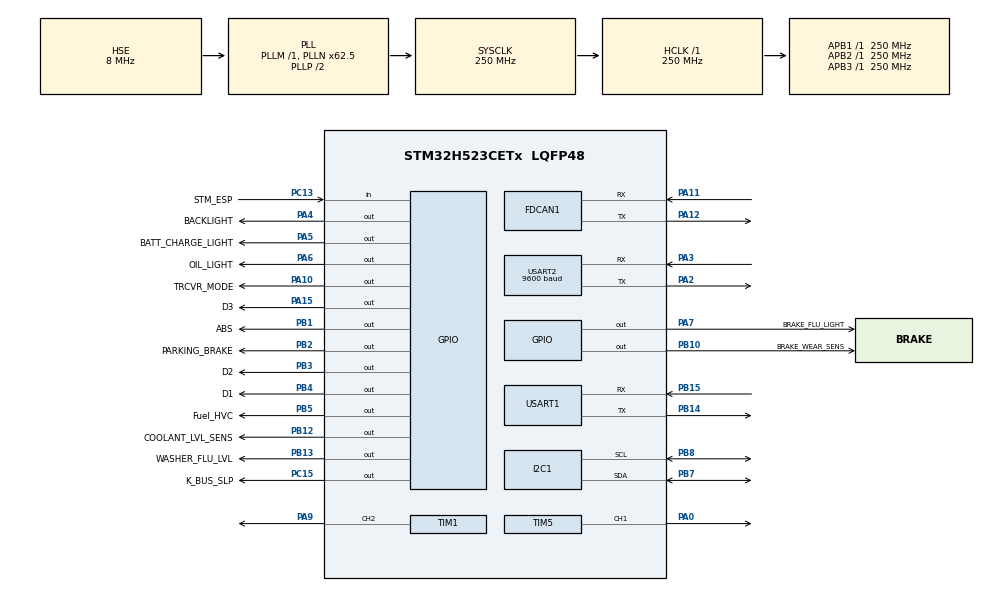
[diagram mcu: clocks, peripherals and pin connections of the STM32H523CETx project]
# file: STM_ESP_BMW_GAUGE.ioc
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BOOTPATH.BootPathName=LEGACY
BOOTPATH.UserSelectedBootPath=LEGACY
CORTEX_M33_NS.userName=CORTEX_M33
FDCAN1.CalculateBaudRateNominal=500000
FDCAN1.CalculateTimeBitNominal=2000
FDCAN1.CalculateTimeQuantumNominal=125.0
FDCAN1.NominalPrescaler=1
FDCAN1.NominalTimeSeg1=11
FDCAN1.NominalTimeSeg2=4
FDCAN1.TxFifoQueueMode=FDCAN_TX_FIFO_OPERATION
GPDMA1.IPHANDLE_GPDMACH0-SIMPLEREQUEST_GPDMACH0=__NULL
GPDMA1.REQUEST_GPDMACH0=GPDMA1_REQUEST_USART1_RX
I2C1.Timing=0x60808CD3
Mcu.Family=STM32H5
Mcu.Name=STM32H523CETx
Mcu.Package=LQFP48
NVIC.FDCAN1_IT0_IRQn=true\:0\:0\:false\:false\:true\:true\:true\:true
NVIC.FDCAN1_IT1_IRQn=true\:0\:0\:false\:false\:true\:true\:true\:true
NVIC.GPDMA1_Channel0_IRQn=true\:1\:0\:true\:false\:true\:false\:true\:true
NVIC.PriorityGroup=NVIC_PRIORITYGROUP_4
NVIC.TIM1_BRK_IRQn=true\:0\:0\:false\:false\:true\:true\:true\:true
NVIC.TIM1_CC_IRQn=true\:2\:0\:true\:false\:true\:true\:true\:true
NVIC.TIM1_TRG_COM_IRQn=true\:2\:0\:true\:false\:true\:true\:true\:true
NVIC.TIM1_UP_IRQn=true\:2\:0\:true\:false\:true\:true\:true\:true
NVIC.TIM2_IRQn=true\:3\:0\:true\:false\:true\:true\:true\:true
NVIC.TIM3_IRQn=true\:6\:0\:true\:false\:true\:true\:true\:true
NVIC.TIM4_IRQn=true\:2\:0\:true\:false\:true\:true\:true\:true
NVIC.USART1_IRQn=true\:1\:0\:true\:false\:true\:true\:true\:true
PA0.Signal=S_TIM5_CH1
PA10.GPIO_Label=TRCVR_MODE
PA10.Signal=GPIO_Output
PA11.Mode=FDCAN_Activate
PA11.Signal=FDCAN1_RX
PA12.Mode=FDCAN_Activate
PA12.Signal=FDCAN1_TX
PA13(JTMS/SWDIO).Mode=Serial_Wire
PA13(JTMS/SWDIO).Signal=DEBUG_JTMS-SWDIO
PA14(JTCK/SWCLK).Mode=Serial_Wire
PA14(JTCK/SWCLK).Signal=DEBUG_JTCK-SWCLK
PA15(JTDI).GPIO_Label=D3
PA15(JTDI).Signal=GPIO_Output
PA2.GPIO_Speed=GPIO_SPEED_FREQ_VERY_HIGH
PA2.Mode=Asynchronous
PA2.Signal=USART2_TX
PA3.GPIO_Speed=GPIO_SPEED_FREQ_VERY_HIGH
PA3.Mode=Asynchronous
PA3.Signal=USART2_RX
PA4.GPIO_Label=BACKLIGHT
PA4.Signal=GPIO_Output
PA5.GPIO_Label=BATT_CHARGE_LIGHT
PA5.Signal=GPIO_Output
PA6.GPIO_Label=OIL_LIGHT
PA6.Signal=GPIO_Output
PA7.GPIO_Label=BRAKE_FLU_LIGHT
PA7.Signal=GPIO_Output
PA9.Signal=S_TIM1_CH2
PB1.GPIO_Label=ABS
PB1.Signal=GPIO_Output
PB10.GPIO_Label=BRAKE_WEAR_SENS
PB10.Signal=GPIO_Output
PB12.GPIO_Label=COOLANT_LVL_SENS
PB12.Signal=GPIO_Output
PB13.GPIO_Label=WASHER_FLU_LVL
PB13.GPIO_ModeDefaultOutputPP=GPIO_MODE_OUTPUT_PP
PB13.GPIO_PuPd=GPIO_NOPULL
PB13.Signal=GPIO_Output
PB14.Mode=Asynchronous
PB14.Signal=USART1_TX
PB15.Mode=Asynchronous
PB15.Signal=USART1_RX
PB2.GPIO_Label=PARKING_BRAKE
PB2.Signal=GPIO_Output
PB3(JTDO/TRACESWO).GPIO_Label=D2
PB3(JTDO/TRACESWO).Signal=GPIO_Output
PB4(NJTRST).GPIO_Label=D1
PB4(NJTRST).Signal=GPIO_Output
PB5.GPIO_Label=Fuel_HVC
PB5.GPIO_PuPd=GPIO_NOPULL
PB5.PinState=GPIO_PIN_SET
PB5.Signal=GPIO_Output
PB7.Mode=I2C
PB7.Signal=I2C1_SDA
PB8.Mode=I2C
PB8.Signal=I2C1_SCL
PC13.GPIO_Label=STM_ESP
PC13.Signal=GPIO_Input
PC15-OSC32_OUT(OSC32_OUT).GPIO_Label=K_BUS_SLP
PC15-OSC32_OUT(OSC32_OUT).Signal=GPIO_Output
PH0-OSC_IN(PH0).Mode=HSE-External-Oscillator
PH0-OSC_IN(PH0).Signal=RCC_OSC_IN
PH1-OSC_OUT(PH1).Mode=HSE-External-Oscillator
PH1-OSC_OUT(PH1).Signal=RCC_OSC_OUT
ProjectManager.HeapSize=0x200
ProjectManager.StackSize=0x400
ProjectManager.TargetToolchain=STM32CubeIDE
RCC.ADCFreq_Value=250000000
RCC.AHBFreq_Value=250000000
RCC.APB1Freq_Value=250000000
RCC.APB1TimFreq_Value=250000000
RCC.APB2Freq_Value=250000000
RCC.APB2TimFreq_Value=250000000
RCC.APB3Freq_Value=250000000
RCC.CSI_VALUE=4000000
RCC.CortexFreq_Value=250000000
RCC.EPOD_VALUE=8000000
RCC.HCLKFreq_Value=250000000
RCC.HSE_VALUE=8000000
RCC.HSI48_VALUE=48000000
RCC.HSI_VALUE=64000000
RCC.LSE_VALUE=32768
RCC.LSIRC_VALUE=32000
RCC.PLL2FRACN=0
RCC.PLL3FRACN=0
RCC.PLLFRACN=4096
RCC.PLLN=62
RCC.PLLSourceVirtual=RCC_PLL1_SOURCE_HSE
RCC.SYSCLKFreq_VALUE=250000000
RCC.SYSCLKSource=RCC_SYSCLKSOURCE_PLLCLK
RCC.USBFreq_Value=48000000
RCC.VCOOutputFreq_Value=500000000
SH.S_TIM1_CH2.0=TIM1_CH2,PWM Generation2 CH2
SH.S_TIM5_CH1.0=TIM5_CH1,PWM Generation1 CH1
TIM1.AutoReloadPreload=TIM_AUTORELOAD_PRELOAD_ENABLE
TIM1.Channel-PWM\ Generation2\ CH2=TIM_CHANNEL_2
TIM1.Prescaler=49
TIM1.PulseNoDither_2=5000
TIM2.Channel-Output\ Compare2\ No\ Output=TIM_CHANNEL_2
TIM2.PeriodNoDither=49999
TIM2.Prescaler=49
TIM3.PeriodNoDither=49999
TIM3.Prescaler=999
TIM4.Channel-Output\ Compare2\ No\ Output=TIM_CHANNEL_2
TIM4.PeriodNoDither=49999
TIM4.Prescaler=49
TIM5.Channel-PWM\ Generation1\ CH1=TIM_CHANNEL_1
TIM5.PeriodNoDither=19999
TIM5.Prescaler=249
TIM5.PulseNoDither_1=1500 
USART1.VirtualMode-Asynchronous=VM_ASYNC
USART2.BaudRate=9600
USART2.Parity=PARITY_EVEN
USART2.VirtualMode-Asynchronous=VM_ASYNC
USART2.WordLength=WORDLENGTH_9B
VP_BOOTPATH_VS_BOOTPATH.Mode=BP_Activate
VP_CORTEX_M33_NS_VS_Hclk.Mode=Hclk_Mode
VP_GPDMA1_VS_GPDMACH0.Mode=SIMPLEREQUEST_GPDMACH0
VP_ICACHE_VS_ENABLE_ICACHE_MEMORY.Mode=Memoryregions
VP_ICACHE_VS_ICACHE.Mode=DirectMappedCache
VP_MEMORYMAP_VS_MEMORYMAP.Mode=CurAppReg
VP_PWR_VS_DBSignals.Mode=DisableDeadBatterySignals
VP_PWR_VS_LPOM.Mode=PowerOptimisation
VP_PWR_VS_SECSignals.Mode=Security/Privilege
VP_TIM1_VS_ClockSourceINT.Mode=Internal
VP_TIM2_VS_ClockSourceINT.Mode=Internal
VP_TIM2_VS_no_output2.Mode=Output Compare2 No Output
VP_TIM3_VS_ClockSourceINT.Mode=Internal
VP_TIM4_VS_ClockSourceINT.Mode=Internal
VP_TIM4_VS_no_output2.Mode=Output Compare2 No Output
board=custom

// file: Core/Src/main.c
/* USER CODE BEGIN Header */
/**
  ******************************************************************************
  * @file           : main.c
  * @brief          : Main program body
  ******************************************************************************
  * @attention
  *
  * Copyright (c) 2025 STMicroelectronics.
  * All rights reserved.
  *
  * This software is licensed under terms that can be found in the LICENSE file
  * in the root directory of this software component.
  * If no LICENSE file comes with this software, it is provided AS-IS.
  *
  ******************************************************************************
  */
/* USER CODE END Header */
#include "main.h"
#include "fdcan.h"
#include "gpdma.h"
#include "i2c.h"
#include "icache.h"
#include "memorymap.h"
#include "tim.h"
#include "usart.h"
#include "gpio.h"

/* USER CODE BEGIN Includes */
#include <stdio.h>
#include <stdbool.h>
#include <string.h>
/* USER CODE END Includes */

/* USER CODE BEGIN PTD */
typedef struct {
    uint32_t time;// time in milliseconds (to check order) // N/A,
    char car[4];// Car name // N/A, fixed value of "beam"
    uint16_t flags;
    char gear;// Reverse:0, Neutral:1, First:2...
    char plid;// Unique ID of viewed player (0 = none) // N/A,
    float speed; // M/S
    float rpm;// RPM
    float turbo; // BAR
    float engTemp;// C
    float fuel;// 0 to 1
    float oilPressure;// BAR // N/A, hardcoded to 0
    float oilTemp;// C
    uint32_t dashLights;// Dash lights available (see DL_x below)
    uint32_t showLights;// Dash lights currently switched on
    float throttle;// 0 to 1
    float brake; // 0 to 1
    float clutch;// 0 to 1
    char display1[16];// Usually Fuel // N/A, hardcoded to ""
    char display2[16];// Usually Settings // N/A, hardcoded to ""
    int id; // optional - only if OutGauge ID is specified
} FrameData;

typedef struct {
    TIM_HandleTypeDef *htim;
    uint32_t channel;
    uint16_t min_pulse;
    uint16_t max_pulse;
} Servo_t;

/* USER CODE END PTD */

/* USER CODE BEGIN PD */

// K BUS
#define LM      						0xd0
#define Broadcast        			    0xbf
#define Cluster_Indicators_Request      0x5a
#define Door_Lid_Status        			0x7a

// Byte 1 (MSB)
#define TURN_RAPID        0x80
#define TURN_RIGHT        0x40
#define TURN_LEFT         0x20
#define FOG_REAR          0x10
#define FOG_FRONT         0x08
#define BEAM_HIGH         0x04
#define BEAM_LOW          0x02
#define PARKING           0x01
// Byte 2
#define CCM_LIC_PLATE     0x80
#define CCM_TURN_RIGHT    0x40
#define CCM_TURN_LEFT     0x20
#define CCM_FOG_REAR      0x10
#define CCM_FOG_FRONT     0x08
#define CCM_HIGH_BEAM     0x04
#define CCM_LOW_BEAM      0x02
#define CCM_PARKING       0x01
// Byte 3
#define CCM_REVERSE       0x20
#define INDICATORS        0x04
#define CCM_BRAKE         0x02
// Byte 4
#define FOG_REAR_SWITCH   0x40

// outgauge protocol
// OG_x - Bity dla flags
#define OG_SHIFT    (1 << 0)   // key N/A
#define OG_CTRL     (1 << 1)   // key N/A
#define OG_TURBO    (1 << 13)  // Wskaźnik turbo
#define OG_KM       (1 << 14)  // if not set - user prefers MILES
#define OG_BAR      (1 << 15)  // if not set - user prefers PSI

// DL_x - Bity dla dashLights i showLights
#define DL_SHIFT        (1 << 0)  // shift light
#define DL_FULLBEAM     (1 << 1)  // full beam
#define DL_HANDBRAKE    (1 << 2)  // handbrake
#define DL_PITSPEED     (1 << 3)  // pit speed limiter // N/A
#define DL_TC           (1 << 4)  // tc active or switched off
#define DL_SIGNAL_L     (1 << 5)  // left turn signal
#define DL_SIGNAL_R     (1 << 6)  // right turn signal
#define DL_SIGNAL_ANY   (1 << 7)  // shared turn signal // N/A
#define DL_OILWARN      (1 << 8)  // oil pressure warning
#define DL_BATTERY      (1 << 9)  // battery warning
#define DL_ABS          (1 << 10) // abs active or switched off
#define DL_SPARE        (1 << 11) // N/A
//

#define RX_BUFFER_SIZE 128
#define FRAME_SIZE 96
#define HEADER "+IPD"
#define MAX_SPEED 270      // 255 km/h
#define MIN_FREQ 25      // 100 Hz
#define MAX_FREQ 1770  // 1770 kHz

#define FUEL_MIN_DEG 45
#define FUEL_MAX_DEG 115
#define FUEL_MAX_RAW 1000

/* USER CODE END PD */

/* USER CODE BEGIN PV */
uint8_t UartBuffer[RX_BUFFER_SIZE];  // Bufor odbiorczy
uint8_t FrameBuffer[FRAME_SIZE];     // Bufor na pełną ramkę
uint8_t headerMatch = 0;             // Stan detekcji nagłówka
uint8_t frameIndex = 0;              // Indeks do zapisu danych ramki
bool frameReady = false;

FrameData frame;
Servo_t servo1;
float speed = 0;

bool isTurboActive;
bool isMetric;
bool prefersBar;

bool isShiftLightOn;
bool isFullBeam;
bool isHandbrakeOn;
bool isTractionCtrl;
bool isABSActive;
bool isOilWarning;
bool isBatteryWarning;
bool isLeftSignal;
bool isRightSignal;
uint16_t alive_counter;
uint8_t frame1F3_counter = 0;
static float previous_fuel = 0;
static uint32_t previous_time = 0;
static uint16_t mpgloop = 0;
static uint16_t prev_rpm = 0;
static uint32_t rpm_integral = 0; // Do śledzenia historii
/* USER CODE END PV */

void SystemClock_Config(void);

/* USER CODE BEGIN 0 */
void SetTCON(I2C_HandleTypeDef *hi2c, uint16_t value) {
    uint8_t data[3];

    // Rejestr TCON (0x04), Write = 00
    data[0] = (0x04 << 4) | 0x00;

    // 9-bitowa wartość TCON
    value &= 0x01FF;
    data[2] = (value >> 8) & 0x01; // MSB (1 bit)
    data[1] = value & 0xFF;        // LSB (8 bitów)

    // Wysłanie komendy + 2 bajtów wartości
    if (HAL_I2C_Master_Transmit(hi2c, (0x2C << 1), data, 3, HAL_MAX_DELAY) != HAL_OK) {
        printf("⚠️ Błąd zapisu do TCON!\n");
    }
}

uint16_t MCP4662_ReadTCON(I2C_HandleTypeDef *hi2c) {
    uint8_t command_byte = (0x04 << 4) | 0x0C; // Rejestr TCON, CC = 11 (Read)
    uint8_t data[2] = {0};

    // Wysłanie bajtu komendy
    if (HAL_I2C_Master_Transmit(hi2c, (0x2C << 1), &command_byte, 1, HAL_MAX_DELAY) != HAL_OK) {
        return 0xFFFF; // Kod błędu
    }

    // Odczyt danych (9-bitowa wartość, ale zwracamy 16-bitową zmienną)
    if (HAL_I2C_Master_Receive(hi2c, (0x2C << 1) | 1, data, 2, HAL_MAX_DELAY) != HAL_OK) {
        return 0xFFFF; // Kod błędu
    }

    // Połączenie danych (TCON ma 9 bitów, więc maskujemy)
    uint16_t tcon_value = ((data[0] << 8) | data[1]) & 0x01FF;

    return tcon_value;
}
void Servo_SetAngle(Servo_t *servo, uint8_t angle) {
    if (angle >= 105) angle = 105;
    if (angle <= 10) angle = 10;

    uint32_t range = servo->max_pulse - servo->min_pulse;
    uint32_t pulse = servo->min_pulse + ((uint32_t)angle * range) / 180;

    __HAL_TIM_SET_COMPARE(servo->htim, servo->channel, pulse);
}

void Servo_Init(Servo_t *servo, TIM_HandleTypeDef *htim, uint32_t channel) {
    servo->htim = htim;
    servo->channel = channel;

    // Typowe wartości dla serwa: 1ms - 2ms w trybie PWM 20ms (50Hz)
    servo->min_pulse = 500;   // w mikrosekundach (np. 0 stopni)
    servo->max_pulse = 2500;  // w mikrosekundach (np. 180 stopni)

}
int __io_putchar(int ch) //function used to print() in usart
{
  if (ch == '\n') {
    __io_putchar('\r');
  }

  HAL_UART_Transmit(&huart1, (uint8_t*)&ch, 1, HAL_MAX_DELAY);

  return 1;
}
void Set_PWM_Frequency(uint16_t speed_kmh) {
    uint32_t freq = MIN_FREQ + ((MAX_FREQ - MIN_FREQ) * speed_kmh) / MAX_SPEED;

    uint32_t arr_value, psc_value;

    if (freq < 3800) {
        psc_value = (250000000 / (65536 * freq));
        if (psc_value > 65535) psc_value = 65535;  // PSC nie może przekroczyć 16 bitów
        arr_value = (250000000 / ((psc_value + 1) * freq)) - 1;
    } else {
        psc_value = 0;
        arr_value = (250000000 / freq) - 1;
    }

    if (arr_value > 65535) arr_value = 65535;  // Ograniczenie ARR do 16 bitów
    //printf("Speed: %d km/h, Freq: %lu Hz, PSC: %lu, ARR: %lu\n", speed_kmh, freq, psc_value, arr_value);

    __HAL_TIM_SET_PRESCALER(&htim1, psc_value);
    __HAL_TIM_SET_AUTORELOAD(&htim1, arr_value);
    //__HAL_TIM_SET_COUNTER(&htim1, 0);

}

void ESP32_SendCommand(const char* command) {
    HAL_UART_Transmit(&huart1, (uint8_t*)command, strlen(command), HAL_MAX_DELAY);
    HAL_UART_Transmit(&huart1, (uint8_t*)"\r\n", 2, HAL_MAX_DELAY);  // Końcówka komendy AT
    HAL_Delay(100);  // Czekaj na odpowiedź
}

void I2C_Scan()
{
    printf("Skanowanie I2C...\r\n");
    for (uint8_t addr = 1; addr < 127; addr++)
    {
        if (HAL_I2C_IsDeviceReady(&hi2c1, (addr << 1), 1, 100) == HAL_OK)
        {
            printf("Znaleziono urządzenie na adresie: 0x%X\r\n", addr);
        }
    }
}

void InitAnalogIndicators(){

	 HAL_GPIO_WritePin(K_BUS_SLP_GPIO_Port, K_BUS_SLP_Pin, SET); //turn off k-bus tranciver sleep mode

	 HAL_GPIO_WritePin(WASHER_FLU_LVL_GPIO_Port, WASHER_FLU_LVL_Pin, SET); // SET to off
	 HAL_GPIO_WritePin(COOLANT_LVL_SENS_GPIO_Port, COOLANT_LVL_SENS_Pin, SET); //SET to off
	 HAL_GPIO_WritePin(BRAKE_WEAR_SENS_GPIO_Port, BRAKE_WEAR_SENS_Pin, SET);//SET to off
	 HAL_GPIO_WritePin(PARKING_BRAKE_GPIO_Port, PARKING_BRAKE_Pin, RESET);//SET to off temp
	 HAL_GPIO_WritePin(ABS_GPIO_Port, ABS_Pin, SET);//SET to off temp
	 HAL_GPIO_WritePin(BRAKE_FLU_LIGHT_GPIO_Port, BRAKE_FLU_LIGHT_Pin, SET);//SET to off
	 HAL_GPIO_WritePin(OIL_LIGHT_GPIO_Port, OIL_LIGHT_Pin, RESET);//RESET to off temp
	 HAL_GPIO_WritePin(BATT_CHARGE_LIGHT_GPIO_Port, BATT_CHARGE_LIGHT_Pin, RESET);//RESET to off temp

	 //HAL_GPIO_WritePin(BACKLIGHT_GPIO_Port, BACKLIGHT_Pin, RESET);//RESET to off ------------NOT WORKING
	 modify_can_frame_byte(FRAME_316, 0, 0x05);
	 modify_can_frame_byte(FRAME_316, 1, 0x14);
	 modify_can_frame_byte(FRAME_316, 4, 0x14);
	 modify_can_frame_byte(FRAME_316, 5, 0x17);
	 modify_can_frame_byte(FRAME_316, 6, 0x0);
	 modify_can_frame_byte(FRAME_316, 7, 0x16);

	 modify_can_frame_byte(FRAME_153, 0, 0x00); // brak błędu //06 //ff to turn on
	 modify_can_frame_byte(FRAME_153, 1, 0x00); // brak aktywnej interwencji DSC
	 modify_can_frame_byte(FRAME_153, 2, 0x00); // zero flag
	 modify_can_frame_byte(FRAME_153, 3, 0x00); // zero błędów
	 modify_can_frame_byte(FRAME_153, 4, 0x00); // zero
	 modify_can_frame_byte(FRAME_153, 5, 0x00); // zero
	 modify_can_frame_byte(FRAME_153, 6, 0x00); // brak błędu
	 modify_can_frame_byte(FRAME_153, 7, 0x00); // suma kontrolna lub pusty

	 modify_can_frame_byte(FRAME_545, 4, 0x7E);  // Unused byte
	 modify_can_frame_byte(FRAME_545, 5, 0x10);  // Unused byte
	 modify_can_frame_byte(FRAME_545, 6, 0x00);  // Unused byte
	 modify_can_frame_byte(FRAME_545, 7, 0x18);  // Unused byte

	 modify_can_frame_byte(FRAME_329, 0, 0x07);  // Unused byte
	 modify_can_frame_byte(FRAME_329, 2, 0xB2);  // Unused byte
	 modify_can_frame_byte(FRAME_329, 3, 0x19);  // Unused byte
	 modify_can_frame_byte(FRAME_329, 4, 0x00);  // Unused byte
	 modify_can_frame_byte(FRAME_329, 5, 0xEE);  // Unused byte
	 modify_can_frame_byte(FRAME_329, 6, 0x00);  // Unused byte
	 modify_can_frame_byte(FRAME_329, 7, 0x00);  // Unused byte

	 modify_can_frame_byte(FRAME_1F3, 0, 0x00);
	 modify_can_frame_byte(FRAME_1F3, 1, 0x00);
	 modify_can_frame_byte(FRAME_1F3, 2, 0x00);
	 modify_can_frame_byte(FRAME_1F3, 3, 0x00);
	 modify_can_frame_byte(FRAME_1F3, 4, 0x00);
	 modify_can_frame_byte(FRAME_1F3, 5, 0x00);
	 modify_can_frame_byte(FRAME_1F3, 6, 0x00);
	 modify_can_frame_byte(FRAME_1F3, 7, 0x00);
}

void parse_frame(uint8_t *buffer) {
    uint8_t offset = 0;

    memcpy(&frame, buffer, sizeof(FrameData));

    isTurboActive = frame.flags & OG_TURBO;
    isMetric = frame.flags & OG_KM;
    prefersBar = frame.flags & OG_BAR;

    isShiftLightOn = frame.showLights & DL_SHIFT;
    isFullBeam = frame.showLights & DL_FULLBEAM;
    isHandbrakeOn = frame.showLights & DL_HANDBRAKE;
    isTractionCtrl = frame.showLights & DL_TC;
    isABSActive = frame.showLights & DL_ABS;
    isOilWarning = frame.showLights & DL_OILWARN;
    isBatteryWarning = frame.showLights & DL_BATTERY;
    isLeftSignal = frame.showLights & DL_SIGNAL_L;
    isRightSignal = frame.showLights & DL_SIGNAL_R;

    HAL_GPIO_TogglePin(D1_GPIO_Port, D1_Pin);  // Diagnostyka
}
void Modify_Speed_RPM(){
speed = frame.speed * 3.6;
    Set_PWM_Frequency(speed);

    uint16_t hexValue_RPM = (uint16_t)(frame.rpm / 0.15625);  // Rzutowanie na uint16_t
    uint8_t lsb = hexValue_RPM & 0xFF;  // Pobranie 8 najmłodszych bitów
    uint8_t msb = (hexValue_RPM >> 8) & 0xFF;  // Pobranie 8 najbardziej znaczących bitów

    uint8_t hexValue_temperature = ((frame.engTemp + 48.0) / 0.75) ;

    modify_can_frame_byte(FRAME_316, 2, lsb);  // Modyfikacja bajtu w ramce CAN
    modify_can_frame_byte(FRAME_316, 3, msb);  // Modyfikacja bajtu w ramce CAN
    modify_can_frame_byte(FRAME_329, 1, hexValue_temperature);
}
void Modify_Values(){

    if(frame.engTemp >= 129)
    {
    	modify_can_frame_bit(FRAME_545, 3, 3, 1);
    }
    else
    {
    	modify_can_frame_bit(FRAME_545, 3, 3, 0);
    }

    if (mpgloop == 0xFFFF) {
        mpgloop = 0x0;
    } else {
        // Oblicz zmianę RPM (pochodną)
        int16_t rpm_delta = frame.rpm - prev_rpm;

        // Część dynamiczna - reaguje na zmiany obrotów
        int16_t dynamic_component = 0;
        if (rpm_delta > 0) {
        	dynamic_component = (rpm_delta << 1) + rpm_delta; // zamiast * 3 // Silna reakcja na przyspieszenie
        } else if (rpm_delta < 0) {
            dynamic_component = rpm_delta; // Słabsza reakcja na zwalnianie
        }

        // Część statyczna - zależy od aktualnych obrotów
        uint16_t static_component = frame.rpm / 50; // Dostosuj dzielnik

        // Suma obu komponentów
        int32_t new_mpgloop = mpgloop + dynamic_component + static_component;

        // Jeśli pedał gazu puszczony - szybkie zmniejszanie
        uint8_t throttle_pct = (uint8_t)(frame.throttle * 100.0f);
        if (throttle_pct <= 20) {
            new_mpgloop = 0;
        }

        // Ograniczenia wartości
        new_mpgloop = (new_mpgloop < 0) ? 0 : new_mpgloop;
        mpgloop = (new_mpgloop > 0xFFFF) ? 0xFFFF : (uint16_t)new_mpgloop;

    }

//    static uint8_t can_update_counter = 0;
//    if (++can_update_counter >= 2) {
//        can_update_counter = 0;
//        modify_can_frame_byte(FRAME_545, 1, mpgloop & 0xFF);
//        modify_can_frame_byte(FRAME_545, 2, mpgloop >> 8);
//    }

    if(isTractionCtrl)
    {
	 modify_can_frame_byte(FRAME_153, 0, 0x06); // brak błędu //06 //ff to turn on
	 modify_can_frame_byte(FRAME_153, 1, 0xff); // brak aktywnej interwencji DSC
    }
    else
    {
   	 modify_can_frame_byte(FRAME_153, 0, 0x00); // brak błędu //06 //ff to turn on
   	 modify_can_frame_byte(FRAME_153, 1, 0x00); // brak aktywnej interwencji DSC
    }

//	   float fuel = frame.fuel;
//
//	   // Ogranicz na wszelki wypadek (gdyby coś wyszło poza zakres)
//	   if (fuel < 0.0f) fuel = 0.0f;
//	   if (fuel > 1.0f) fuel = 1.0f;
//
//	   // Przelicz fuel na kąt z zakresu 45–115
//	   float angle = 45.0f + fuel * (115.0f - 45.0f);  // czyli 45 + fuel * 70
//
//	   Servo_SetAngle(&servo1, angle);

    uint16_t fuel_int = (uint16_t)(frame.fuel * 65535.0f + 0.5f);
    uint8_t angle = 105 - ((fuel_int * 95) >> 16); // 95 = 105 - 10

    Servo_SetAngle(&servo1, angle);
}

uint8_t calculate_checksum(uint8_t *data, uint8_t length) {
    uint8_t checksum = 0;
    for (uint8_t i = 0; i < length; i++) {
        checksum ^= data[i];
    }
    return checksum;
}

void Send_KBUS_frame(uint8_t Source_ID, uint8_t Dest_ID, uint8_t command, uint8_t Byte1, uint8_t Byte2, uint8_t Byte3, uint8_t Byte4, uint8_t size )
{
	uint8_t frame[10];
	//uint8_t lenght;

	frame[0] = Source_ID; //LM 0xd0 → Broadcast 0xbf
	//frame[1] = lenght;
	frame[2] = Dest_ID;
	frame[3] = command;
	frame[4] = Byte1;
	frame[5] = Byte2;
	frame[6] = Byte3;
	frame[7] = Byte4;
	frame[8] = 0;

	//lenght = sizeof(frame) - 2;
	frame[1] = size; //lenght
	frame[8] = calculate_checksum(frame, size+1);
	frame[9] = '\n';

	HAL_UART_Transmit(&huart2, frame, sizeof(frame), 100);
}

void process_frame(void) {
    if (frameReady) {
        parse_frame(FrameBuffer);
        frameReady = false;
    }
}

/* USER CODE END 0 */

int main(void)
{

  /* MCU Configuration--------------------------------------------------------*/

  /* Reset of all peripherals, Initializes the Flash interface and the Systick. */
  HAL_Init();

  /* Configure the system clock */
  SystemClock_Config();

  /* Initialize all configured peripherals */
  MX_GPIO_Init();
  MX_GPDMA1_Init();
  MX_USART1_UART_Init();
  MX_TIM1_Init();
  MX_ICACHE_Init();
  MX_FDCAN1_Init();
  MX_TIM2_Init();
  MX_USART2_UART_Init();
  MX_TIM3_Init();
  MX_I2C1_Init();
  MX_TIM4_Init();
  MX_TIM5_Init();
  /* USER CODE BEGIN 2 */
  HAL_TIM_PWM_Start(&htim1, TIM_CHANNEL_2);
  HAL_TIM_PWM_Start(&htim5, TIM_CHANNEL_1);
  ESP32_SendCommand("AT+RST");  // Resetuj ESP32
 // HAL_Delay(1000);
 // ESP32_SendCommand("AT+CWMODE=1");  // Ustaw tryb stacji (klient Wi-Fi)
 // HAL_Delay(1000);
 // ESP32_SendCommand("AT+CWJAP=\"PLAY_Swiatlowod_19A1\",\"t8Xv9auf7Z#D\"");  // Wi-Fi //AT+CWJAP="PLAY_Swiatlowod_19A1","t8Xv9auf7Z#D" - if connection lost/MCU replaced
  HAL_Delay(5000);
  ESP32_SendCommand("AT+CIPSTART=\"UDP\",\"0.0.0.0\",12345,12345,2");  // Ustaw tryb UDP
  HAL_Delay(1000);
  HAL_UART_Receive_DMA(&huart1, UartBuffer, 1);
  HAL_TIM_Base_Start_IT(&htim2);
  HAL_Delay(5);
  HAL_TIM_Base_Start_IT(&htim4);
  HAL_TIM_Base_Start_IT(&htim3);
  Servo_Init(&servo1, &htim5, TIM_CHANNEL_1);
  InitCANFrames();
  InitAnalogIndicators();
  Servo_SetAngle(&servo1,10);

//int angle = 0;
//int direction = 1; // 1 = w górę, -1 = w dół

  /* USER CODE END 2 */

  /* Infinite loop */
  /* USER CODE BEGIN WHILE */
  while (1)
  {
//	Servo_SetAngle(&servo1, angle);
//	          angle += direction;
//
//	          if (angle >= 180) {
//	              angle = 180;
//	              direction = -1;
//	          } else if (angle <= 0) {
//	              angle = 0;
//	              direction = 1;
//	          }
//	          HAL_Delay(50);

	 process_frame();
	 Modify_Speed_RPM();
	 Modify_Values();
    /* USER CODE END WHILE */

  }
}

void SystemClock_Config(void)
{
  RCC_OscInitTypeDef RCC_OscInitStruct = {0};
  RCC_ClkInitTypeDef RCC_ClkInitStruct = {0};

  /** Configure the main internal regulator output voltage
  */
  __HAL_PWR_VOLTAGESCALING_CONFIG(PWR_REGULATOR_VOLTAGE_SCALE0);

  while(!__HAL_PWR_GET_FLAG(PWR_FLAG_VOSRDY)) {}

  /** Initializes the RCC Oscillators according to the specified parameters
  * in the RCC_OscInitTypeDef structure.
  */
  RCC_OscInitStruct.OscillatorType = RCC_OSCILLATORTYPE_HSE;
  RCC_OscInitStruct.HSEState = RCC_HSE_ON;
  RCC_OscInitStruct.PLL.PLLState = RCC_PLL_ON;
  RCC_OscInitStruct.PLL.PLLSource = RCC_PLL1_SOURCE_HSE;
  RCC_OscInitStruct.PLL.PLLM = 1;
  RCC_OscInitStruct.PLL.PLLN = 62;
  RCC_OscInitStruct.PLL.PLLP = 2;
  RCC_OscInitStruct.PLL.PLLQ = 2;
  RCC_OscInitStruct.PLL.PLLR = 2;
  RCC_OscInitStruct.PLL.PLLRGE = RCC_PLL1_VCIRANGE_3;
  RCC_OscInitStruct.PLL.PLLVCOSEL = RCC_PLL1_VCORANGE_WIDE;
  RCC_OscInitStruct.PLL.PLLFRACN = 4096;
  if (HAL_RCC_OscConfig(&RCC_OscInitStruct) != HAL_OK)
  {
    Error_Handler();
  }

  /** Initializes the CPU, AHB and APB buses clocks
  */
  RCC_ClkInitStruct.ClockType = RCC_CLOCKTYPE_HCLK|RCC_CLOCKTYPE_SYSCLK
                              |RCC_CLOCKTYPE_PCLK1|RCC_CLOCKTYPE_PCLK2
                              |RCC_CLOCKTYPE_PCLK3;
  RCC_ClkInitStruct.SYSCLKSource = RCC_SYSCLKSOURCE_PLLCLK;
  RCC_ClkInitStruct.AHBCLKDivider = RCC_SYSCLK_DIV1;
  RCC_ClkInitStruct.APB1CLKDivider = RCC_HCLK_DIV1;
  RCC_ClkInitStruct.APB2CLKDivider = RCC_HCLK_DIV1;
  RCC_ClkInitStruct.APB3CLKDivider = RCC_HCLK_DIV1;

  if (HAL_RCC_ClockConfig(&RCC_ClkInitStruct, FLASH_LATENCY_5) != HAL_OK)
  {
    Error_Handler();
  }

  /** Configure the programming delay
  */
  __HAL_FLASH_SET_PROGRAM_DELAY(FLASH_PROGRAMMING_DELAY_2);
}

/* USER CODE BEGIN 4 */
void HAL_UART_RxCpltCallback(UART_HandleTypeDef *huart) {
    static uint8_t byte; // Przechowywany bajt
    HAL_GPIO_TogglePin(D2_GPIO_Port, D2_Pin);
    if (huart->Instance == USART1) {
        byte = UartBuffer[0]; // Odbieramy bajt po bajcie

        // Sprawdzamy nagłówek "+IPD"
        if (headerMatch < 4) {
            if (byte == HEADER[headerMatch]) {
                headerMatch++;
            } else {
                headerMatch = 0; // Reset, jeśli się nie zgadza
            }
        } else if (headerMatch == 4) {
            // Oczekujemy na długość ramki, pomijamy "xx:"
            if (byte == ':') {
                headerMatch++; // Przechodzimy do odbioru danych
                frameIndex = 0;
            }
        } else {
            // Odbiór danych ramki
            if (frameIndex < 96 ) {
                FrameBuffer[frameIndex++] = byte;
            }

            if (frameIndex >= 96 ) {
                frameReady = true;  // Pełna ramka odebrana
                process_frame();
                headerMatch = 0;    // Reset detekcji nagłówka
                frameIndex = 0;     // Reset indeksu bufora ramki
            }}
        HAL_UART_Receive_DMA(&huart1, UartBuffer, 1);
    }
}

void HAL_TIM_PeriodElapsedCallback(TIM_HandleTypeDef *htim) {
	 if (htim == &htim2)
	 {
	     SendCANFrame(FRAME_316);  // Wysyła ramkę o ID 0x316
	     SendCANFrame(FRAME_329);  // Wysyła ramkę o ID 0x329
	     SendCANFrame(FRAME_545);  // Wysyła ramkę o ID 0x545
	 }
	 if (htim == &htim4)
	 {
	     SendCANFrame(FRAME_153);

	     frame1F3_counter++;
	     if (frame1F3_counter >= 2) {
	         SendCANFrame(FRAME_1F3);
	         frame1F3_counter = 0;
	     }
	 }
	 if (htim == &htim3)
	 {
		bool anyConditionMet = false;
		uint8_t command = 0x00;  // Domyślnie brak sygnału
		if (isFullBeam) {
			command = BEAM_LOW | PARKING | BEAM_HIGH;
			anyConditionMet = true;
		}
		if (isLeftSignal) {
			command = command | TURN_LEFT;
			anyConditionMet = true;
		}
		if (isRightSignal) {
			command = command | TURN_RIGHT;
			anyConditionMet = true;
		}
		if (!anyConditionMet) {
			Send_KBUS_frame(LM, Broadcast, 0x5B, 0x00, 0x00, 0x00, 0x00, 0x07);//, 0x83, 0x0a, 0x3f
		}
		Send_KBUS_frame(LM, Broadcast, 0x5B, command, 0x00, 0x00, 0x00, 0x07);

		if (isHandbrakeOn) {
			HAL_GPIO_WritePin(PARKING_BRAKE_GPIO_Port, PARKING_BRAKE_Pin, SET);//SET to off temp
		}else
			HAL_GPIO_WritePin(PARKING_BRAKE_GPIO_Port, PARKING_BRAKE_Pin, RESET);//SET to off temp
		if (isOilWarning) {
			HAL_GPIO_WritePin(OIL_LIGHT_GPIO_Port, OIL_LIGHT_Pin, SET); //SET on
		}else
			HAL_GPIO_WritePin(OIL_LIGHT_GPIO_Port, OIL_LIGHT_Pin, RESET); //SET to off temp
		if (isBatteryWarning) {
			HAL_GPIO_WritePin(BATT_CHARGE_LIGHT_GPIO_Port, BATT_CHARGE_LIGHT_Pin, SET);
		}else
			HAL_GPIO_WritePin(BATT_CHARGE_LIGHT_GPIO_Port, BATT_CHARGE_LIGHT_Pin, RESET);
		if (isABSActive) {
			HAL_GPIO_WritePin(ABS_GPIO_Port, ABS_Pin, RESET);
		}else
			HAL_GPIO_WritePin(ABS_GPIO_Port, ABS_Pin, SET);
	 }
}

/* USER CODE END 4 */

void Error_Handler(void)
{
  /* USER CODE BEGIN Error_Handler_Debug */
  /* User can add his own implementation to report the HAL error return state */
  __disable_irq();
  while (1)
  {
	  HAL_GPIO_TogglePin(D3_GPIO_Port, D3_Pin);  // Diagnostyka

  }
  /* USER CODE END Error_Handler_Debug */
}
